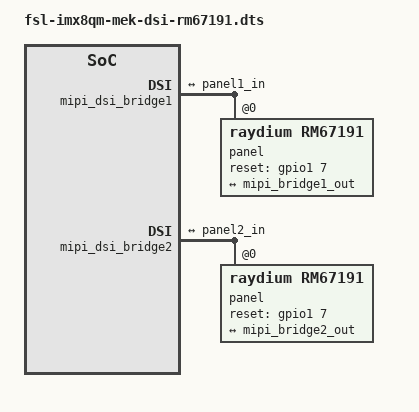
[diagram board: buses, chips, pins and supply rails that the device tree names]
/*
 * Copyright 2017 NXP
 *
 * This program is free software; you can redistribute it and/or
 * modify it under the terms of the GNU General Public License
 * as published by the Free Software Foundation; either version 2
 * of the License, or (at your option) any later version.
 *
 * This program is distributed in the hope that it will be useful,
 * but WITHOUT ANY WARRANTY; without even the implied warranty of
 * MERCHANTABILITY or FITNESS FOR A PARTICULAR PURPOSE.  See the
 * GNU General Public License for more details.
 */

#include "fsl-imx8qm-mek.dts"

&mipi_dsi_bridge1 {
	status = "okay";

	panel@0 {
		compatible = "raydium,rm67191";
		reg = <0>;
		pinctrl-0 = <&pinctrl_mipi_dsi_0_1_en>;
		reset-gpio = <&gpio1 7 GPIO_ACTIVE_HIGH>;
		dsi-lanes = <4>;
		panel-width-mm = <68>;
		panel-height-mm = <121>;
		port {
			panel1_in: endpoint {
				remote-endpoint = <&mipi_bridge1_out>;
			};
		};
	};

	port@2 {
		mipi_bridge1_out: endpoint {
			remote-endpoint = <&panel1_in>;
		};
	};
};

&mipi_dsi_bridge2 {
	status = "okay";

	panel@0 {
		compatible = "raydium,rm67191";
		reg = <0>;
		pinctrl-0 = <&pinctrl_mipi_dsi_0_1_en>;
		reset-gpio = <&gpio1 7 GPIO_ACTIVE_HIGH>;
		dsi-lanes = <4>;
		panel-width-mm = <68>;
		panel-height-mm = <121>;
		port {
			panel2_in: endpoint {
				remote-endpoint = <&mipi_bridge2_out>;
			};
		};
	};

	port@2 {
		mipi_bridge2_out: endpoint {
			remote-endpoint = <&panel2_in>;
		};
	};
};
